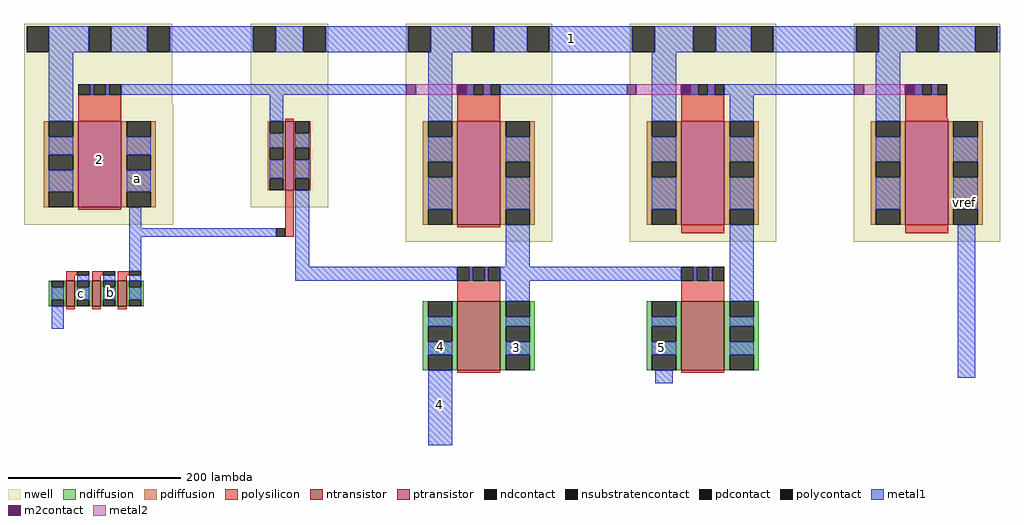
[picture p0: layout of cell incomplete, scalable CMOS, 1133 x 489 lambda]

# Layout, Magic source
magic
tech scmos
<< nwell >>
rect -526 218 -354 311
rect -526 78 -353 218
rect -263 98 -173 311
rect -83 58 87 311
rect 177 58 347 311
rect 437 58 607 311
<< ntransistor >>
rect -477 -17 -467 13
rect -447 -17 -437 13
rect -417 -17 -407 13
rect -23 -91 27 -11
rect 237 -91 287 -11
<< ptransistor >>
rect -463 98 -413 198
rect -223 118 -213 198
rect -23 78 27 198
rect 237 78 287 198
rect 497 78 547 198
<< ndiffusion >>
rect -497 5 -494 13
rect -480 5 -477 13
rect -497 -9 -477 5
rect -497 -17 -494 -9
rect -480 -17 -477 -9
rect -467 5 -464 13
rect -450 5 -447 13
rect -467 -9 -447 5
rect -467 -17 -464 -9
rect -450 -17 -447 -9
rect -437 5 -434 13
rect -420 5 -417 13
rect -437 -9 -417 5
rect -437 -17 -434 -9
rect -420 -17 -417 -9
rect -407 5 -404 13
rect -390 5 -387 13
rect -407 -9 -387 5
rect -407 -17 -404 -9
rect -390 -17 -387 -9
rect -63 -29 -57 -11
rect -29 -29 -23 -11
rect -63 -40 -23 -29
rect -63 -58 -57 -40
rect -29 -58 -23 -40
rect -63 -73 -23 -58
rect -63 -91 -57 -73
rect -29 -91 -23 -73
rect 27 -29 33 -11
rect 61 -29 67 -11
rect 27 -40 67 -29
rect 27 -58 33 -40
rect 61 -58 67 -40
rect 27 -73 67 -58
rect 27 -91 33 -73
rect 61 -91 67 -73
rect 197 -29 203 -11
rect 231 -29 237 -11
rect 197 -40 237 -29
rect 197 -58 203 -40
rect 231 -58 237 -40
rect 197 -73 237 -58
rect 197 -91 203 -73
rect 231 -91 237 -73
rect 287 -29 293 -11
rect 321 -29 327 -11
rect 287 -40 327 -29
rect 287 -58 293 -40
rect 321 -58 327 -40
rect 287 -73 327 -58
rect 287 -91 293 -73
rect 321 -91 327 -73
<< pdiffusion >>
rect -503 180 -497 198
rect -469 180 -463 198
rect -503 159 -463 180
rect -503 141 -497 159
rect -469 141 -463 159
rect -503 116 -463 141
rect -503 98 -497 116
rect -469 98 -463 116
rect -413 180 -407 198
rect -379 180 -373 198
rect -413 159 -373 180
rect -413 141 -407 159
rect -379 141 -373 159
rect -413 116 -373 141
rect -243 184 -241 198
rect -225 184 -223 198
rect -243 167 -223 184
rect -243 153 -241 167
rect -225 153 -223 167
rect -243 132 -223 153
rect -243 118 -241 132
rect -225 118 -223 132
rect -213 184 -211 198
rect -195 184 -193 198
rect -213 167 -193 184
rect -213 153 -211 167
rect -195 153 -193 167
rect -213 132 -193 153
rect -213 118 -211 132
rect -195 118 -193 132
rect -63 180 -57 198
rect -29 180 -23 198
rect -63 151 -23 180
rect -63 133 -57 151
rect -29 133 -23 151
rect -413 98 -407 116
rect -379 98 -373 116
rect -63 96 -23 133
rect -63 78 -57 96
rect -29 78 -23 96
rect 27 180 33 198
rect 61 180 67 198
rect 27 151 67 180
rect 27 133 33 151
rect 61 133 67 151
rect 27 96 67 133
rect 27 78 33 96
rect 61 78 67 96
rect 197 180 203 198
rect 231 180 237 198
rect 197 151 237 180
rect 197 133 203 151
rect 231 133 237 151
rect 197 96 237 133
rect 197 78 203 96
rect 231 78 237 96
rect 287 180 293 198
rect 321 180 327 198
rect 287 151 327 180
rect 287 133 293 151
rect 321 133 327 151
rect 287 96 327 133
rect 287 78 293 96
rect 321 78 327 96
rect 457 180 463 198
rect 491 180 497 198
rect 457 151 497 180
rect 457 133 463 151
rect 491 133 497 151
rect 457 96 497 133
rect 457 78 463 96
rect 491 78 497 96
rect 547 180 553 198
rect 581 180 587 198
rect 547 151 587 180
rect 547 133 553 151
rect 581 133 587 151
rect 547 96 587 133
rect 547 78 553 96
rect 581 78 587 96
<< ndcontact >>
rect -494 5 -480 13
rect -494 -17 -480 -9
rect -464 5 -450 13
rect -464 -17 -450 -9
rect -434 5 -420 13
rect -434 -17 -420 -9
rect -404 5 -390 13
rect -404 -17 -390 -9
rect -57 -29 -29 -11
rect -57 -58 -29 -40
rect -57 -91 -29 -73
rect 33 -29 61 -11
rect 33 -58 61 -40
rect 33 -91 61 -73
rect 203 -29 231 -11
rect 203 -58 231 -40
rect 203 -91 231 -73
rect 293 -29 321 -11
rect 293 -58 321 -40
rect 293 -91 321 -73
<< pdcontact >>
rect -497 180 -469 198
rect -497 141 -469 159
rect -497 98 -469 116
rect -407 180 -379 198
rect -407 141 -379 159
rect -241 184 -225 198
rect -241 153 -225 167
rect -241 118 -225 132
rect -211 184 -195 198
rect -211 153 -195 167
rect -211 118 -195 132
rect -57 180 -29 198
rect -57 133 -29 151
rect -407 98 -379 116
rect -57 78 -29 96
rect 33 180 61 198
rect 33 133 61 151
rect 33 78 61 96
rect 203 180 231 198
rect 203 133 231 151
rect 203 78 231 96
rect 293 180 321 198
rect 293 133 321 151
rect 293 78 321 96
rect 463 180 491 198
rect 463 133 491 151
rect 463 78 491 96
rect 553 180 581 198
rect 553 133 581 151
rect 553 78 581 96
<< nsubstratencontact >>
rect -523 278 -497 308
rect -451 278 -425 308
rect -383 278 -357 308
rect -260 278 -234 308
rect -202 278 -176 308
rect -80 278 -54 308
rect -6 278 20 308
rect 58 278 84 308
rect 180 278 206 308
rect 251 278 277 308
rect 318 278 344 308
rect 440 278 466 308
rect 510 278 536 308
rect 578 278 604 308
<< polysilicon >>
rect -449 229 -445 241
rect -431 229 -427 241
rect -463 198 -413 229
rect -12 229 -4 241
rect 7 229 16 241
rect -223 198 -213 201
rect -23 198 27 229
rect 248 229 257 241
rect 268 229 276 241
rect 237 198 287 229
rect 508 229 517 241
rect 528 229 535 241
rect 497 201 546 229
rect 497 198 547 201
rect -463 95 -413 98
rect -223 64 -213 118
rect -23 75 27 78
rect 237 68 287 78
rect 497 68 547 78
rect -477 19 -464 24
rect -447 19 -434 24
rect -417 19 -404 24
rect -477 13 -467 19
rect -447 13 -437 19
rect -417 13 -407 19
rect -9 13 -5 29
rect 9 13 13 29
rect -23 -11 27 13
rect 251 13 255 29
rect 269 13 273 29
rect 237 -11 287 13
rect -477 -20 -467 -17
rect -447 -20 -437 -17
rect -417 -20 -407 -17
rect -23 -94 27 -91
rect 237 -94 287 -91
<< polycontact >>
rect -463 229 -449 241
rect -445 229 -431 241
rect -427 229 -413 241
rect -23 229 -12 241
rect -4 229 7 241
rect 16 229 27 241
rect 237 229 248 241
rect 257 229 268 241
rect 276 229 287 241
rect 497 229 508 241
rect 517 229 528 241
rect 535 229 546 241
rect -233 64 -223 74
rect -464 19 -450 24
rect -434 19 -420 24
rect -404 19 -390 24
rect -23 13 -9 29
rect -5 13 9 29
rect 13 13 27 29
rect 237 13 251 29
rect 255 13 269 29
rect 273 13 287 29
<< metal1 >>
rect -497 278 -451 308
rect -425 278 -383 308
rect -357 278 -260 308
rect -234 278 -202 308
rect -176 278 -80 308
rect -54 278 -6 308
rect 20 278 58 308
rect 84 278 180 308
rect 206 278 251 308
rect 277 278 318 308
rect 344 278 440 308
rect 466 278 510 308
rect 536 278 578 308
rect 604 278 607 308
rect -497 198 -469 278
rect -449 229 -445 241
rect -431 229 -427 241
rect -413 229 -82 241
rect -241 198 -225 229
rect -57 198 -29 278
rect -12 229 -4 241
rect 7 229 16 241
rect 27 229 174 241
rect 203 198 231 278
rect 248 229 257 241
rect 268 229 276 241
rect 287 229 438 241
rect -497 159 -469 180
rect -497 116 -469 141
rect -407 159 -379 180
rect -407 116 -379 141
rect -241 167 -225 184
rect -241 132 -225 153
rect -211 167 -195 184
rect -211 132 -195 153
rect -404 74 -390 98
rect -404 64 -233 74
rect -404 24 -390 64
rect -464 13 -450 19
rect -494 -9 -480 5
rect -464 -9 -450 5
rect -434 13 -420 19
rect -434 -9 -420 5
rect -404 13 -390 19
rect -211 29 -195 118
rect -57 151 -29 180
rect -57 96 -29 133
rect 33 151 61 180
rect 33 96 61 133
rect 203 151 231 180
rect 203 96 231 133
rect 293 198 321 229
rect 293 151 321 180
rect 293 96 321 133
rect 463 198 491 278
rect 508 229 517 241
rect 528 229 535 241
rect 463 151 491 180
rect 463 96 491 133
rect 553 151 581 180
rect 553 96 581 133
rect 33 29 61 78
rect -211 13 -23 29
rect -9 13 -5 29
rect 9 13 13 29
rect 27 13 237 29
rect 251 13 255 29
rect 269 13 273 29
rect -404 -9 -390 5
rect 33 -11 61 13
rect 293 -11 321 78
rect -494 -43 -480 -17
rect -57 -40 -29 -29
rect -57 -73 -29 -58
rect 33 -40 61 -29
rect 33 -73 61 -58
rect 203 -40 231 -29
rect 203 -73 231 -58
rect 293 -40 321 -29
rect 293 -73 321 -58
rect -57 -178 -29 -91
rect 207 -106 227 -91
rect 558 -100 578 78
<< m2contact >>
rect -82 229 -71 241
rect -23 229 -12 241
rect 174 229 185 241
rect 237 229 248 241
rect 438 229 449 241
rect 497 229 508 241
<< metal2 >>
rect -71 229 -23 241
rect 185 229 237 241
rect 449 229 497 241
<< labels >>
rlabel metal1 -394 131 -394 131 1 a
rlabel metal1 -426 -1 -426 -1 1 b
rlabel metal1 -459 -2 -459 -2 1 c
rlabel ptransistor -438 153 -438 154 1 2
rlabel metal1 110 294 110 294 1 1
rlabel metal1 46 -65 46 -65 1 3
rlabel metal1 -43 -64 -43 -64 1 4
rlabel metal1 214 -65 214 -65 1 5
rlabel metal1 566 104 566 104 1 vref
rlabel metal1 -44 -131 -44 -131 1 4
<< end >>
